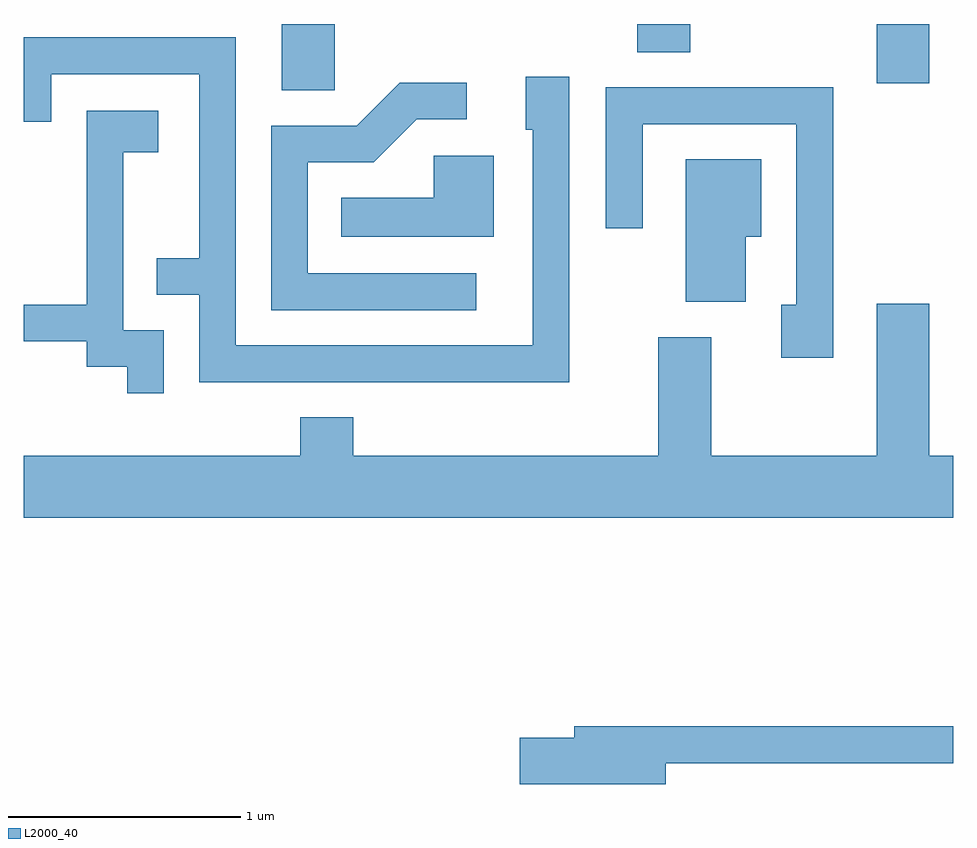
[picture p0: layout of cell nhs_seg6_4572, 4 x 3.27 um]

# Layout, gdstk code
import gdstk
lib = gdstk.Library(unit=1e-6, precision=1e-09)
def R(c, l, rs):  # rectangles x0, y0, x1, y1
    for r in rs: c.add(gdstk.rectangle(r[:2], r[2:], *l))
def P(c, l, *ps):  # polygons
    for p in ps: c.add(gdstk.Polygon(p, *l))
L2000_40 = (2000, 40)

nhs_seg6_4572 = lib.new_cell('nhs_seg6_4572')
R(nhs_seg6_4572, L2000_40, [(326.721,1551.876,326.949,1552.162), (329.281,1551.906,329.509,1552.162), (328.251,1552.041,328.479,1552.162)])
P(nhs_seg6_4572, L2000_40, [(327.959,1551.934),(327.771,1551.934),(327.771,1551.706),(327.801,1551.706),(327.801,1550.779),(326.524,1550.779),(326.524,1552.104),(325.611,1552.104),(325.611,1551.741),(325.729,1551.741),(325.729,1551.946),(326.366,1551.946),(326.366,1551.154),(326.183,1551.154),(326.183,1550.996),(326.366,1550.996),(326.366,1550.621),(327.959,1550.621)],
  [(327.558,1551.089),(326.834,1551.089),(326.834,1551.566),(327.117,1551.566),(327.302,1551.751),(327.518,1551.751),(327.518,1551.909),(327.229,1551.909),(327.044,1551.724),(326.676,1551.724),(326.676,1550.931),(327.558,1550.931)],
  [(329.094,1551.889),(328.116,1551.889),(328.116,1551.283),(328.274,1551.283),(328.274,1551.731),(328.936,1551.731),(328.936,1550.954),(328.871,1550.954),(328.871,1550.726),(329.094,1550.726)],
  [(326.214,1550.844),(326.039,1550.844),(326.039,1551.611),(326.189,1551.611),(326.189,1551.789),(325.881,1551.789),(325.881,1550.954),(325.611,1550.954),(325.611,1550.796),(325.881,1550.796),(325.881,1550.686),(326.056,1550.686),(326.056,1550.573),(326.214,1550.573)],
  [(327.634,1551.594),(327.376,1551.594),(327.376,1551.414),(326.978,1551.414),(326.978,1551.246),(327.634,1551.246)],
  [(328.719,1551.246),(328.784,1551.246),(328.784,1551.579),(328.461,1551.579),(328.461,1550.966),(328.719,1550.966)],
  [(329.611,1550.304),(329.509,1550.304),(329.509,1550.959),(329.281,1550.959),(329.281,1550.304),(328.569,1550.304),(328.569,1550.814),(328.341,1550.814),(328.341,1550.304),(327.029,1550.304),(327.029,1550.469),(326.801,1550.469),(326.801,1550.304),(325.611,1550.304),(325.611,1550.036),(329.611,1550.036)],
  [(328.374,1548.981),(329.611,1548.981),(329.611,1549.139),(327.981,1549.139),(327.981,1549.089),(327.746,1549.089),(327.746,1548.891),(328.374,1548.891)])

lib.write_gds('nhs_seg6_4572.gds')
